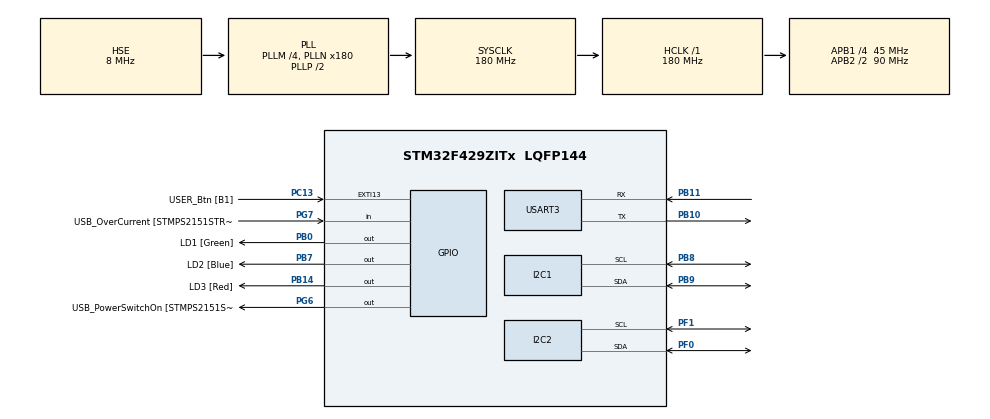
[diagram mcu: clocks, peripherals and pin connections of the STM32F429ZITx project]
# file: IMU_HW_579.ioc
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Mcu.Family=STM32F4
Mcu.Name=STM32F429ZITx
Mcu.Package=LQFP144
NVIC.I2C1_ER_IRQn=true\:0\:0\:false\:false\:true\:true\:true\:true
NVIC.I2C1_EV_IRQn=true\:0\:0\:false\:false\:true\:true\:true\:true
NVIC.I2C2_ER_IRQn=true\:0\:0\:false\:false\:true\:true\:true\:true
NVIC.I2C2_EV_IRQn=true\:0\:0\:false\:false\:true\:true\:true\:true
NVIC.PriorityGroup=NVIC_PRIORITYGROUP_4
NVIC.USART3_IRQn=true\:0\:0\:false\:false\:true\:true\:true\:true
PA1.GPIO_Label=RMII_REF_CLK [LAN8742A-CZ-TR_REFCLK0]
PA1.Signal=ETH_REF_CLK
PA10.GPIO_Label=USB_ID
PA10.Signal=USB_OTG_FS_ID
PA11.GPIO_Label=USB_DM
PA11.Signal=USB_OTG_FS_DM
PA12.GPIO_Label=USB_DP
PA12.Signal=USB_OTG_FS_DP
PA13.GPIO_Label=TMS
PA13.Mode=Serial_Wire
PA13.Signal=SYS_JTMS-SWDIO
PA14.GPIO_Label=TCK
PA14.Mode=Serial_Wire
PA14.Signal=SYS_JTCK-SWCLK
PA2.GPIO_Label=RMII_MDIO [LAN8742A-CZ-TR_MDIO]
PA2.Signal=ETH_MDIO
PA7.GPIO_Label=RMII_CRS_DV [LAN8742A-CZ-TR_CRS_DV]
PA7.Signal=ETH_CRS_DV
PA8.GPIO_Label=USB_SOF [TP1]
PA8.Signal=USB_OTG_FS_SOF
PA9.GPIO_Label=USB_VBUS
PA9.Signal=USB_OTG_FS_VBUS
PB0.GPIO_Label=LD1 [Green]
PB0.Signal=GPIO_Output
PB10.Mode=Asynchronous
PB10.Signal=USART3_TX
PB11.Mode=Asynchronous
PB11.Signal=USART3_RX
PB13.GPIO_Label=RMII_TXD1 [LAN8742A-CZ-TR_TXD1]
PB13.Signal=ETH_TXD1
PB14.GPIO_Label=LD3 [Red]
PB14.Signal=GPIO_Output
PB7.GPIO_Label=LD2 [Blue]
PB7.Signal=GPIO_Output
PB8.Mode=I2C
PB8.Signal=I2C1_SCL
PB9.Mode=I2C
PB9.Signal=I2C1_SDA
PC1.GPIO_Label=RMII_MDC [LAN8742A-CZ-TR_MDC]
PC1.Signal=ETH_MDC
PC13.GPIO_Label=USER_Btn [B1]
PC13.Signal=GPXTI13
PC14/OSC32_IN.Mode=LSE-External-Oscillator
PC14/OSC32_IN.Signal=RCC_OSC32_IN
PC15/OSC32_OUT.Mode=LSE-External-Oscillator
PC15/OSC32_OUT.Signal=RCC_OSC32_OUT
PC4.GPIO_Label=RMII_RXD0 [LAN8742A-CZ-TR_RXD0]
PC4.Signal=ETH_RXD0
PC5.GPIO_Label=RMII_RXD1 [LAN8742A-CZ-TR_RXD1]
PC5.Signal=ETH_RXD1
PF0.Mode=I2C
PF0.Signal=I2C2_SDA
PF1.Mode=I2C
PF1.Signal=I2C2_SCL
PG11.GPIO_Label=RMII_TX_EN [LAN8742A-CZ-TR_TXEN]
PG11.Signal=ETH_TX_EN
PG13.GPIO_Label=RMII_TXD0 [LAN8742A-CZ-TR_TXD0]
PG13.Signal=ETH_TXD0
PG6.GPIO_Label=USB_PowerSwitchOn [STMPS2151STR_EN]
PG6.Signal=GPIO_Output
PG7.GPIO_Label=USB_OverCurrent [STMPS2151STR_FAULT]
PG7.Signal=GPIO_Input
PH0/OSC_IN.GPIO_Label=MCO [STM32F103CBT6_PA8]
PH0/OSC_IN.Mode=HSE-External-Clock-Source
PH0/OSC_IN.Signal=RCC_OSC_IN
PH1/OSC_OUT.Mode=HSE-External-Clock-Source
PH1/OSC_OUT.Signal=RCC_OSC_OUT
ProjectManager.HeapSize=0x200
ProjectManager.StackSize=0x400
ProjectManager.TargetToolchain=STM32CubeIDE
RCC.48MHZClocksFreq_Value=90000000
RCC.AHBFreq_Value=180000000
RCC.APB1CLKDivider=RCC_HCLK_DIV4
RCC.APB1Freq_Value=45000000
RCC.APB1TimFreq_Value=90000000
RCC.APB2CLKDivider=RCC_HCLK_DIV2
RCC.APB2Freq_Value=90000000
RCC.APB2TimFreq_Value=180000000
RCC.CortexFreq_Value=180000000
RCC.HCLKFreq_Value=180000000
RCC.HSE_VALUE=8000000
RCC.HSI_VALUE=16000000
RCC.PLLM=4
RCC.PLLMUL=RCC_PLL_MUL9
RCC.PLLN=180
RCC.PLLSourceVirtual=RCC_PLLSOURCE_HSE
RCC.PRESCALERUSB=RCC_USBCLKSOURCE_PLL_DIV1_5
RCC.SYSCLKFreq_VALUE=180000000
RCC.SYSCLKSource=RCC_SYSCLKSOURCE_PLLCLK
RCC.SYSCLKSourceVirtual=RCC_SYSCLKSOURCE_PLLCLK
RCC.USBFreq_Value=48000000
RCC.VCOOutputFreq_Value=360000000
USART3.VirtualMode=VM_ASYNC
board=NUCLEO-F429ZI

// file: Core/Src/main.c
/* USER CODE BEGIN Header */
/**
  ******************************************************************************
  * @file           : main.c
  * @brief          : Main program body
  ******************************************************************************
  * @attention
  *
  * Copyright (c) 2022 STMicroelectronics.
  * All rights reserved.
  *
  * This software is licensed under terms that can be found in the LICENSE file
  * in the root directory of this software component.
  * If no LICENSE file comes with this software, it is provided AS-IS.
  *
  ******************************************************************************
  */
/* USER CODE END Header */
#include "main.h"
#include "i2c.h"
#include "usart.h"
#include "gpio.h"

/* USER CODE BEGIN Includes */
#include "stdio.h"
#include "stdbool.h"
//#include "HW_579.h"
#include "ITG3205.h"
/* USER CODE END Includes */

/* USER CODE BEGIN PV */
uint8_t buffer[128] = {0, };
//extern HW579 hw579;
extern ITG3205 GYRO;
/* USER CODE END PV */

void SystemClock_Config(void);
/* USER CODE BEGIN PFP */
int _write(int file, char *p, int len)
{
	if(HAL_UART_Transmit(&huart3, (uint8_t *)p, len, 10) == HAL_OK) return len;
	else return 0;
}
/* USER CODE END PFP */

int main(void)
{

  /* MCU Configuration--------------------------------------------------------*/

  /* Reset of all peripherals, Initializes the Flash interface and the Systick. */
  HAL_Init();

  /* Configure the system clock */
  SystemClock_Config();

  /* Initialize all configured peripherals */
  MX_GPIO_Init();
  MX_I2C1_Init();
  MX_USART3_UART_Init();
  MX_I2C2_Init();
  /* USER CODE BEGIN 2 */
  //HW579_init(&hi2c1);
  Gyro_init(&GYRO);

  /* USER CODE END 2 */

  /* Infinite loop */
  /* USER CODE BEGIN WHILE */

//  uint8_t state_buffer[128] = {0, };

//  uint8_t nDevices;

  HAL_Delay(1000);
  printf("I2C Scan Start\r\n");
  printf("==================\r\n");

  //getI2C_Address(&hi2c1);

  printf("==================\r\n");
  printf("End Scanning\r\n");

//  for(int i = 0; i < numSensors; i++)
//  {
//	  printf("result : [0x%X]\r\n", sensors[i]);
//  }

  while (1)
  {
	  //HW579_Read(&hw579);
	  Gyro_Read(&GYRO);
	  printf("%8.2f %8.2f %8.2f\r\n", GYRO.scaled_gyro_X,   GYRO.scaled_gyro_Y,  GYRO.scaled_gyro_Z);
	  HAL_Delay(100);

    /* USER CODE END WHILE */

  }
}

void SystemClock_Config(void)
{
  RCC_OscInitTypeDef RCC_OscInitStruct = {0};
  RCC_ClkInitTypeDef RCC_ClkInitStruct = {0};

  /** Configure the main internal regulator output voltage
  */
  __HAL_RCC_PWR_CLK_ENABLE();
  __HAL_PWR_VOLTAGESCALING_CONFIG(PWR_REGULATOR_VOLTAGE_SCALE1);

  /** Initializes the RCC Oscillators according to the specified parameters
  * in the RCC_OscInitTypeDef structure.
  */
  RCC_OscInitStruct.OscillatorType = RCC_OSCILLATORTYPE_HSE;
  RCC_OscInitStruct.HSEState = RCC_HSE_BYPASS;
  RCC_OscInitStruct.PLL.PLLState = RCC_PLL_ON;
  RCC_OscInitStruct.PLL.PLLSource = RCC_PLLSOURCE_HSE;
  RCC_OscInitStruct.PLL.PLLM = 4;
  RCC_OscInitStruct.PLL.PLLN = 180;
  RCC_OscInitStruct.PLL.PLLP = RCC_PLLP_DIV2;
  RCC_OscInitStruct.PLL.PLLQ = 4;
  if (HAL_RCC_OscConfig(&RCC_OscInitStruct) != HAL_OK)
  {
    Error_Handler();
  }

  /** Activate the Over-Drive mode
  */
  if (HAL_PWREx_EnableOverDrive() != HAL_OK)
  {
    Error_Handler();
  }

  /** Initializes the CPU, AHB and APB buses clocks
  */
  RCC_ClkInitStruct.ClockType = RCC_CLOCKTYPE_HCLK|RCC_CLOCKTYPE_SYSCLK
                              |RCC_CLOCKTYPE_PCLK1|RCC_CLOCKTYPE_PCLK2;
  RCC_ClkInitStruct.SYSCLKSource = RCC_SYSCLKSOURCE_PLLCLK;
  RCC_ClkInitStruct.AHBCLKDivider = RCC_SYSCLK_DIV1;
  RCC_ClkInitStruct.APB1CLKDivider = RCC_HCLK_DIV4;
  RCC_ClkInitStruct.APB2CLKDivider = RCC_HCLK_DIV2;

  if (HAL_RCC_ClockConfig(&RCC_ClkInitStruct, FLASH_LATENCY_5) != HAL_OK)
  {
    Error_Handler();
  }
}

void Error_Handler(void)
{
  __disable_irq();
  while (1)
  {
  }
}
